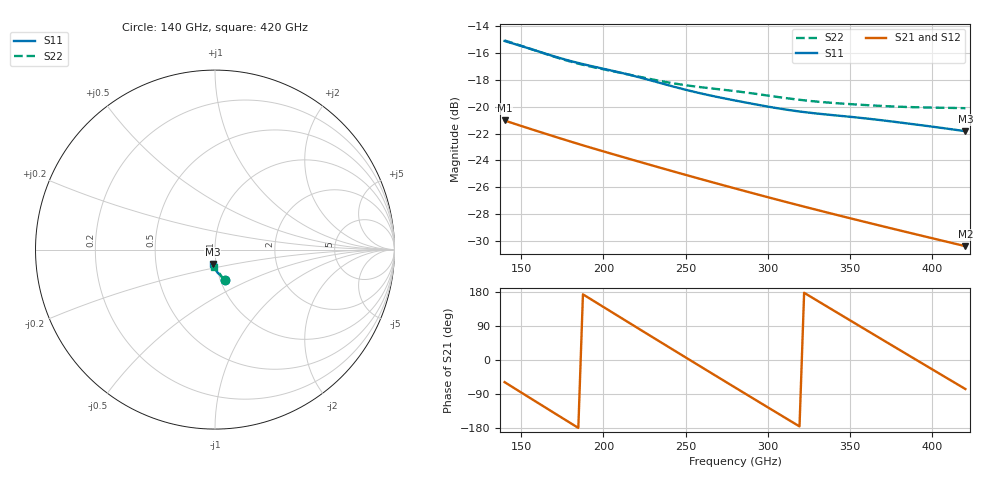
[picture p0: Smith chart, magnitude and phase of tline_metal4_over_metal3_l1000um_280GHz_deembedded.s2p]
! Created with skrf 2.2.0 (http://scikit-rf.org).
# GHz S DB R 50.0
! Port[1] = P1
! Port[2] = P2
!freq dBS11 angS11 dBS21 angS21 dBS12 angS12 dBS22 angS22
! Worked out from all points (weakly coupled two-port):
!   101 points, 140 GHz to 420 GHz, reference 50 ohm
!   highest |S21| = -21.02 dB at 140 GHz (marker M1); lowest = -30.4 dB at 420 GHz (marker M2)
!   lowest |S11| = -21.8 dB at 420 GHz (marker M3), VSWR 1.18, Z = 48.2 - j7.77 ohm
!   |S11| at or under -10 dB: start of sweep to end of sweep
!   |S22| runs from -20.1 to -15.1 dB; largest |S21 - S12| = 8.3e-14
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140  -15.10 -71.7  -21.02 -58.5  -21.02 -58.5  -15.06 -72.0
148.4  -15.41 -73.1  -21.36 -81.2  -21.36 -81.2  -15.38 -73.4
159.6  -15.84 -75.0  -21.81 -111.4  -21.81 -111.4  -15.84 -75.1
173.6  -16.37 -76.9  -22.35 -149.1  -22.35 -149.1  -16.40 -76.7
187.6  -16.82 -78.6  -22.88 173.3  -22.88 173.3  -16.87 -77.8
201.6  -17.21 -80.5  -23.38 135.8  -23.38 135.8  -17.25 -79.0
212.8  -17.53 -82.3  -23.78 105.9  -23.78 105.9  -17.53 -80.1
224  -17.87 -84.0  -24.18 76.0  -24.18 76.0  -17.81 -81.2
235.2  -18.25 -85.5  -24.57 46.1  -24.57 46.1  -18.09 -82.1
246.4  -18.62 -86.6  -24.96 16.4  -24.96 16.4  -18.33 -82.8
254.8  -18.88 -87.3  -25.24 -5.9  -25.24 -5.9  -18.47 -83.3
268.8  -19.26 -88.3  -25.72 -42.9  -25.72 -42.9  -18.68 -84.4
280  -19.53 -89.0  -26.09 -72.5  -26.09 -72.5  -18.83 -85.4
291.2  -19.79 -89.8  -26.46 -101.9  -26.46 -101.9  -19.01 -86.5
305.2  -20.10 -90.5  -26.91 -138.7  -26.91 -138.7  -19.26 -87.7
316.4  -20.31 -91.0  -27.27 -168.0  -27.27 -168.0  -19.44 -88.4
327.6  -20.48 -91.5  -27.62 162.8  -27.62 162.8  -19.59 -88.9
350  -20.75 -93.0  -28.32 104.4  -28.32 104.4  -19.80 -90.0
361.2  -20.89 -93.9  -28.66 75.3  -28.66 75.3  -19.89 -90.6
375.2  -21.10 -95.2  -29.08 39.0  -29.08 39.0  -19.97 -91.4
394.8  -21.40 -96.8  -29.66 -11.7  -29.66 -11.7  -20.05 -92.5
420  -21.82 -98.6  -30.40 -76.6  -30.40 -76.6  -20.11 -94.3
